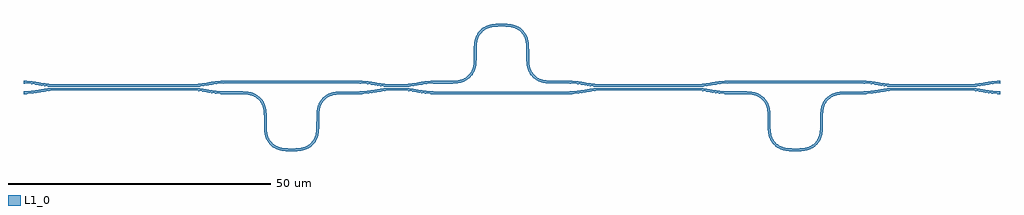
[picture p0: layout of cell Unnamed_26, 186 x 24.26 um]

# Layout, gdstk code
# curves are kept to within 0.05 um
from math import pi, radians
import gdstk
lib = gdstk.Library(unit=1e-6, precision=1e-09)
def R(c, l, rs):  # rectangles x0, y0, x1, y1
    for r in rs: c.add(gdstk.rectangle(r[:2], r[2:], *l))
def P(c, l, *ps):  # polygons
    for p in ps: c.add(gdstk.Polygon(p, *l))
L1_0 = (1, 0)

unnamed_18 = lib.new_cell('Unnamed_18')
P(unnamed_18, L1_0, [(-13.092,0.1),(-14.599,0.205),(-17.641,0.67),(-19,0.75),(-19,1.25),(-17.677,1.177),(-14.567,0.705),(-13.088,0.6),(13.177,0.601),(14.567,0.705),(17.677,1.177),(19,1.25),(19,0.75),(17.641,0.67),(14.813,0.233),(13.462,0.109)])

unnamed_19 = lib.new_cell('Unnamed_19')
P(unnamed_19, L1_0, [(-19,-1.25),(-19,-0.75),(-17.641,-0.67),(-14.599,-0.205),(-13.185,-0.101),(13.185,-0.101),(14.599,-0.205),(17.641,-0.67),(19,-0.75),(19,-1.25),(18.908,-1.25),(17.677,-1.177),(14.567,-0.705),(13.177,-0.601),(-13.177,-0.601),(-14.567,-0.705),(-17.677,-1.177)])

unnamed_20 = lib.new_cell('Unnamed_20')
P(unnamed_20, L1_0, [(-1.092,0.1),(-2.599,0.205),(-5.641,0.67),(-7,0.75),(-7,1.25),(-5.677,1.177),(-2.567,0.705),(-1.088,0.6),(1.915,0.637),(5.401,1.145),(7,1.25),(7,0.75),(5.522,0.656),(1.985,0.141)])

unnamed_21 = lib.new_cell('Unnamed_21')
P(unnamed_21, L1_0, [(-7,-1.25),(-7,-0.75),(-5.641,-0.67),(-2.813,-0.233),(-1.462,-0.109),(1.893,-0.134),(5.522,-0.656),(7,-0.75),(7,-1.25),(5.677,-1.177),(2.567,-0.705),(1.088,-0.6),(-1.915,-0.637),(-5.401,-1.145)])

unnamed_22 = lib.new_cell('Unnamed_22')
P(unnamed_22, L1_0, [(-9.092,0.1),(-10.599,0.205),(-13.641,0.67),(-15,0.75),(-15,1.25),(-13.677,1.177),(-10.567,0.705),(-9.088,0.6),(9.265,0.603),(10.567,0.705),(13.677,1.177),(15,1.25),(15,0.75),(13.641,0.67),(10.813,0.233),(9.555,0.113)])

unnamed_23 = lib.new_cell('Unnamed_23')
P(unnamed_23, L1_0, [(-15,-1.25),(-15,-0.75),(-13.641,-0.67),(-10.599,-0.205),(-9.185,-0.101),(9.277,-0.103),(10.599,-0.205),(13.641,-0.67),(15,-0.75),(15,-1.25),(14.908,-1.25),(13.554,-1.163),(10.567,-0.705),(9.265,-0.603),(-9.177,-0.601),(-10.567,-0.705),(-13.677,-1.177)])

unnamed_24 = lib.new_cell('Unnamed_24')
P(unnamed_24, L1_0, [(-7.092,0.1),(-8.599,0.205),(-11.641,0.67),(-13,0.75),(-13,1.25),(-11.677,1.177),(-8.567,0.705),(-7.088,0.6),(7.265,0.603),(8.567,0.705),(11.677,1.177),(13,1.25),(13,0.75),(11.522,0.656),(7.616,0.116)])

unnamed_25 = lib.new_cell('Unnamed_25')
P(unnamed_25, L1_0, [(-13,-1.25),(-13,-0.75),(-11.641,-0.67),(-8.599,-0.205),(-7.185,-0.101),(7.277,-0.103),(8.599,-0.205),(11.641,-0.67),(13,-0.75),(13,-1.25),(12.908,-1.25),(11.554,-1.163),(8.567,-0.705),(7.265,-0.603),(-7.177,-0.601),(-8.567,-0.705),(-11.677,-1.177)])

straight_l26_n2_csstrip_ = lib.new_cell('straight_L26_N2_CSstrip_WNone')
R(straight_l26_n2_csstrip_, L1_0, [(0,-0.25,26,0.25)])

straight_l3_n2_csxs_261_ = lib.new_cell('straight_L3_N2_CSxs_261_5a9c514e')
R(straight_l3_n2_csxs_261_, L1_0, [(0,-0.25,3,0.25)])

bend_euler_r5_a90_p0p5__ = lib.new_cell('bend_euler_R5_A90_P0p5__bd6e683c')
P(bend_euler_r5_a90_p0p5__, L1_0, [(0,-0.25),(0,0.25),(1.36,0.294),(2.268,0.462),(3.02,0.78),(3.699,1.301),(4.22,1.98),(4.538,2.732),(4.706,3.64),(4.75,5),(5.25,5),(5.203,3.59),(5.018,2.592),(4.653,1.73),(4.053,0.947),(3.27,0.347),(2.408,-0.018),(1.41,-0.203)])

straight_l0p864_n2_csxs_ = lib.new_cell('straight_L0p864_N2_CSxs_c90c2a6f')
R(straight_l0p864_n2_csxs_, L1_0, [(0,-0.25,0.864,0.25)])

unnamed_27 = lib.new_cell('Unnamed_27')
unnamed_27.add(gdstk.Reference(straight_l3_n2_csxs_261_, (0,0)))
unnamed_27.add(gdstk.Reference(bend_euler_r5_a90_p0p5__, (3,0)))
unnamed_27.add(gdstk.Reference(straight_l0p864_n2_csxs_, (8,5), rotation=pi/2))
unnamed_27.add(gdstk.Reference(bend_euler_r5_a90_p0p5__, (8,5.864), rotation=pi/2, x_reflection=True))
unnamed_27.add(gdstk.Reference(bend_euler_r5_a90_p0p5__, (13,10.864), x_reflection=True))
unnamed_27.add(gdstk.Reference(straight_l0p864_n2_csxs_, (18,5.864), rotation=3*pi/2))
unnamed_27.add(gdstk.Reference(bend_euler_r5_a90_p0p5__, (18,5), rotation=3*pi/2))
unnamed_27.add(gdstk.Reference(straight_l3_n2_csxs_261_, (23,0)))

unnamed_28 = lib.new_cell('Unnamed_28')
unnamed_28.add(gdstk.Reference(unnamed_27, (-13,-5.432)))

unnamed_29 = lib.new_cell('Unnamed_29')
unnamed_29.add(gdstk.Reference(straight_l3_n2_csxs_261_, (0,0)))
unnamed_29.add(gdstk.Reference(bend_euler_r5_a90_p0p5__, (3,0)))
unnamed_29.add(gdstk.Reference(straight_l0p864_n2_csxs_, (8,5), rotation=pi/2))
unnamed_29.add(gdstk.Reference(bend_euler_r5_a90_p0p5__, (8,5.864), rotation=pi/2, x_reflection=True))
unnamed_29.add(gdstk.Reference(bend_euler_r5_a90_p0p5__, (13,10.864), x_reflection=True))
unnamed_29.add(gdstk.Reference(straight_l0p864_n2_csxs_, (18,5.864), rotation=3*pi/2))
unnamed_29.add(gdstk.Reference(bend_euler_r5_a90_p0p5__, (18,5), rotation=3*pi/2))
unnamed_29.add(gdstk.Reference(straight_l3_n2_csxs_261_, (23,0)))

unnamed_30 = lib.new_cell('Unnamed_30')
unnamed_30.add(gdstk.Reference(unnamed_29, (-13,-5.432)))

unnamed_31 = lib.new_cell('Unnamed_31')
unnamed_31.add(gdstk.Reference(straight_l3_n2_csxs_261_, (0,0)))
unnamed_31.add(gdstk.Reference(bend_euler_r5_a90_p0p5__, (3,0)))
unnamed_31.add(gdstk.Reference(straight_l0p864_n2_csxs_, (8,5), rotation=pi/2))
unnamed_31.add(gdstk.Reference(bend_euler_r5_a90_p0p5__, (8,5.864), rotation=pi/2, x_reflection=True))
unnamed_31.add(gdstk.Reference(bend_euler_r5_a90_p0p5__, (13,10.864), x_reflection=True))
unnamed_31.add(gdstk.Reference(straight_l0p864_n2_csxs_, (18,5.864), rotation=3*pi/2))
unnamed_31.add(gdstk.Reference(bend_euler_r5_a90_p0p5__, (18,5), rotation=3*pi/2))
unnamed_31.add(gdstk.Reference(straight_l3_n2_csxs_261_, (23,0)))

unnamed_32 = lib.new_cell('Unnamed_32')
unnamed_32.add(gdstk.Reference(unnamed_31, (-13,-5.432)))

unnamed_26 = lib.new_cell('Unnamed_26')
unnamed_26.add(gdstk.Reference(unnamed_18, (-77,0)))
unnamed_26.add(gdstk.Reference(unnamed_19, (-77,0)))
unnamed_26.add(gdstk.Reference(unnamed_20, (-25,0)))
unnamed_26.add(gdstk.Reference(unnamed_21, (-25,0)))
unnamed_26.add(gdstk.Reference(unnamed_22, (23,0)))
unnamed_26.add(gdstk.Reference(unnamed_23, (23,0)))
unnamed_26.add(gdstk.Reference(unnamed_24, (77,0)))
unnamed_26.add(gdstk.Reference(unnamed_25, (77,0)))
unnamed_26.add(gdstk.Reference(straight_l26_n2_csstrip_, (-58,1), rotation=radians(0.077)))
unnamed_26.add(gdstk.Reference(unnamed_28, (-45.007,-6.449), rotation=radians(359.923), x_reflection=True))
unnamed_26.add(gdstk.Reference(straight_l26_n2_csstrip_, (-18,-1), rotation=radians(359.923)))
unnamed_26.add(gdstk.Reference(unnamed_30, (-5.007,6.449), rotation=radians(0.077)))
unnamed_26.add(gdstk.Reference(straight_l26_n2_csstrip_, (38,1), rotation=radians(0.077)))
unnamed_26.add(gdstk.Reference(unnamed_32, (50.993,-6.449), rotation=radians(359.923), x_reflection=True))

lib.write_gds('Unnamed_26.gds')
